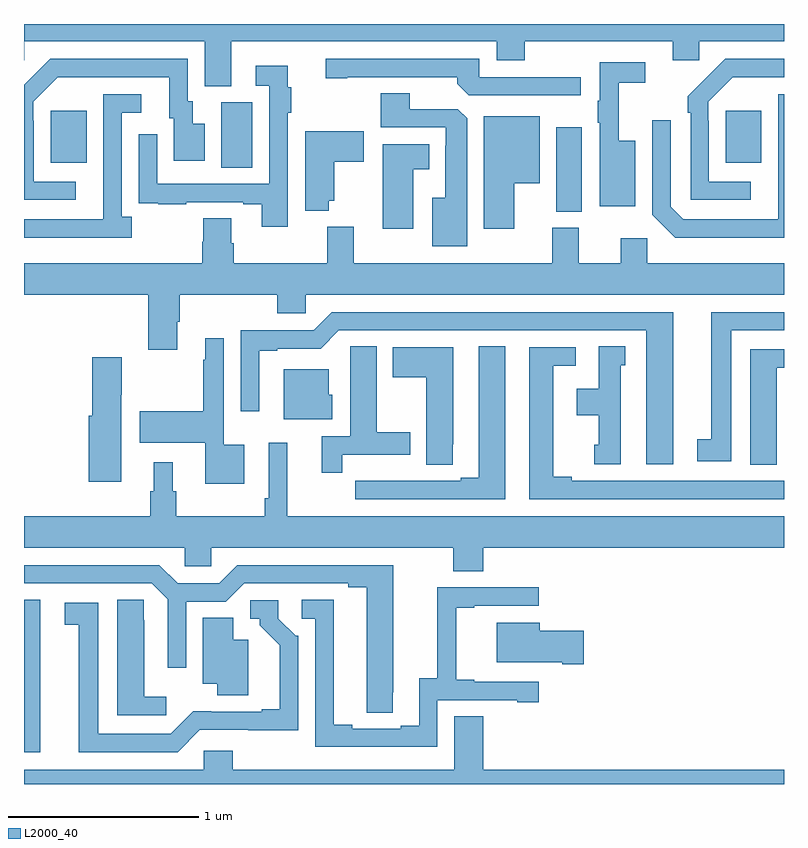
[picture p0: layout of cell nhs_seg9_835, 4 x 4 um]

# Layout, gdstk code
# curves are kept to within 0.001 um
import gdstk
lib = gdstk.Library(unit=1e-6, precision=1e-09)
def R(c, l, rs):  # rectangles x0, y0, x1, y1
    for r in rs: c.add(gdstk.rectangle(r[:2], r[2:], *l))
def P(c, l, *ps):  # polygons
    for p in ps: c.add(gdstk.Polygon(p, *l))
L2000_40 = (2000, 40)

nhs_seg9_835 = lib.new_cell('nhs_seg9_835')
R(nhs_seg9_835, L2000_40, [(155,1204.668,155.086,1205.47), (157.802,1207.513,157.936,1207.957), (156.038,1207.744,156.202,1208.088), (155.141,1207.769,155.329,1208.044), (158.693,1207.769,158.881,1208.044)])
P(nhs_seg9_835, L2000_40, [(156.091,1208.408),(157.487,1208.408),(157.487,1208.309),(157.635,1208.309),(157.635,1208.408),(158.414,1208.408),(158.414,1208.31),(158.553,1208.31),(158.553,1208.408),(159,1208.408),(159,1208.5),(155,1208.5),(155,1208.31),(155.001,1208.31),(155.001,1208.408),(155.951,1208.408),(155.951,1208.173),(156.091,1208.173)],
  [(157.93,1208.22),(157.395,1208.22),(157.395,1208.316),(156.588,1208.316),(156.588,1208.215),(156.7,1208.215),(156.7,1208.22),(157.28,1208.22),(157.28,1208.186),(157.341,1208.124),(157.93,1208.124)],
  [(158.824,1207.671),(158.604,1207.671),(158.604,1207.991),(158.601,1207.991),(158.601,1208.091),(158.73,1208.22),(159,1208.22),(159,1208.316),(158.69,1208.316),(158.493,1208.121),(158.493,1208.033),(158.508,1208.033),(158.508,1207.575),(158.824,1207.575)],
  [(155.272,1207.671),(155.052,1207.671),(155.052,1207.991),(155.049,1207.991),(155.049,1208.091),(155.178,1208.22),(155.765,1208.22),(155.765,1208.004),(155.789,1208.004),(155.789,1207.779),(155.95,1207.779),(155.95,1207.975),(155.887,1207.975),(155.887,1208.094),(155.862,1208.094),(155.862,1208.316),(155.138,1208.316),(155,1208.18),(155,1207.575),(155.272,1207.575)],
  [(158.218,1207.885),(158.129,1207.885),(158.129,1208.19),(158.269,1208.19),(158.269,1208.298),(158.031,1208.298),(158.031,1208.095),(158.019,1208.095),(158.019,1207.981),(158.03,1207.981),(158.03,1207.541),(158.218,1207.541)],
  [(156.387,1208.032),(156.407,1208.032),(156.407,1208.168),(156.389,1208.168),(156.389,1208.281),(156.219,1208.281),(156.219,1208.175),(156.291,1208.175),(156.291,1207.659),(155.7,1207.659),(155.7,1207.921),(155.604,1207.921),(155.604,1207.666),(155.605,1207.666),(155.605,1207.557),(155.707,1207.557),(155.707,1207.551),(155.855,1207.551),(155.855,1207.563),(156.155,1207.563),(156.155,1207.551),(156.251,1207.551),(156.251,1207.434),(156.387,1207.434)],
  [(157.333,1208.003),(157.284,1208.052),(157.03,1208.052),(157.03,1208.135),(156.878,1208.135),(156.878,1207.956),(157.221,1207.956),(157.221,1207.859),(157.217,1207.859),(157.217,1207.585),(157.148,1207.585),(157.148,1207.331),(157.333,1207.331)],
  [(155.566,1207.486),(155.514,1207.486),(155.514,1208.034),(155.617,1208.034),(155.617,1208.13),(155.418,1208.13),(155.418,1207.673),(155.417,1207.673),(155.417,1207.473),(155,1207.473),(155,1207.376),(155.566,1207.376)],
  [(159,1208.13),(158.97,1208.13),(158.97,1207.673),(158.969,1207.673),(158.969,1207.473),(158.469,1207.473),(158.403,1207.539),(158.403,1207.993),(158.307,1207.993),(158.307,1207.497),(158.428,1207.376),(159,1207.376)],
  [(157.579,1207.661),(157.714,1207.661),(157.714,1208.014),(157.421,1208.014),(157.421,1207.422),(157.579,1207.422)],
  [(156.604,1207.571),(156.634,1207.571),(156.634,1207.774),(156.787,1207.774),(156.787,1207.936),(156.479,1207.936),(156.479,1207.517),(156.604,1207.517)],
  [(157.048,1207.736),(157.132,1207.736),(157.132,1207.867),(156.887,1207.867),(156.887,1207.422),(157.048,1207.422)],
  [(155.806,1206.934),(155.819,1206.934),(155.819,1207.076),(156.332,1207.076),(156.332,1206.978),(156.483,1206.978),(156.483,1207.076),(159,1207.076),(159,1207.24),(158.28,1207.24),(158.28,1207.372),(158.141,1207.372),(158.141,1207.24),(157.921,1207.24),(157.921,1207.428),(157.781,1207.428),(157.781,1207.24),(156.736,1207.24),(156.736,1207.432),(156.596,1207.432),(156.596,1207.24),(156.104,1207.24),(156.104,1207.346),(156.091,1207.346),(156.091,1207.478),(155.944,1207.478),(155.944,1207.353),(155.939,1207.353),(155.939,1207.24),(155,1207.24),(155,1207.076),(155.654,1207.076),(155.654,1206.786),(155.806,1206.786)],
  [(158.416,1206.984),(156.621,1206.984),(156.525,1206.888),(156.141,1206.888),(156.141,1206.462),(156.238,1206.462),(156.238,1206.78),(156.334,1206.78),(156.334,1206.792),(156.561,1206.792),(156.657,1206.888),(158.276,1206.888),(158.276,1206.183),(158.416,1206.183)],
  [(158.722,1206.888),(159,1206.888),(159,1206.984),(158.618,1206.984),(158.618,1206.314),(158.544,1206.314),(158.544,1206.198),(158.722,1206.198)],
  [(156.16,1206.286),(156.051,1206.286),(156.051,1206.847),(155.954,1206.847),(155.954,1206.734),(155.943,1206.734),(155.943,1206.462),(155.61,1206.462),(155.61,1206.296),(155.954,1206.296),(155.954,1206.08),(156.16,1206.08)],
  [(156.674,1206.234),(157.033,1206.234),(157.033,1206.351),(156.856,1206.351),(156.856,1206.803),(156.717,1206.803),(156.717,1206.692),(156.716,1206.692),(156.716,1206.33),(156.566,1206.33),(156.566,1206.138),(156.674,1206.138)],
  [(157.534,1206.803),(157.394,1206.803),(157.394,1206.111),(157.298,1206.111),(157.298,1206.096),(157.022,1206.096),(157.022,1206.097),(156.856,1206.097),(156.856,1206.096),(156.744,1206.096),(156.744,1206),(157.534,1206)],
  [(158.14,1206.705),(158.164,1206.705),(158.164,1206.803),(158.024,1206.803),(158.024,1206.58),(157.91,1206.58),(157.91,1206.44),(158.024,1206.44),(158.024,1206.285),(158,1206.285),(158,1206.183),(158.14,1206.183)],
  [(157.257,1206.289),(157.258,1206.289),(157.258,1206.799),(156.941,1206.799),(156.941,1206.64),(157.118,1206.64),(157.118,1206.181),(157.257,1206.181)],
  [(159,1206.096),(157.882,1206.096),(157.882,1206.116),(157.786,1206.116),(157.786,1206.702),(157.903,1206.702),(157.903,1206.798),(157.658,1206.798),(157.658,1206),(159,1206)],
  [(158.961,1206.289),(158.962,1206.289),(158.962,1206.692),(159,1206.692),(159,1206.789),(158.822,1206.789),(158.822,1206.181),(158.961,1206.181)],
  [(155.512,1206.55),(155.514,1206.55),(155.514,1206.745),(155.36,1206.745),(155.36,1206.438),(155.342,1206.438),(155.342,1206.09),(155.512,1206.09)],
  [(156.622,1206.549),(156.604,1206.549),(156.604,1206.682),(156.368,1206.682),(156.368,1206.419),(156.622,1206.419)],
  [(157.418,1205.744),(159,1205.744),(159,1205.908),(156.386,1205.908),(156.386,1206.295),(156.288,1206.295),(156.288,1206.004),(156.268,1206.004),(156.268,1205.908),(155.801,1205.908),(155.801,1206.042),(155.782,1206.042),(155.782,1206.193),(155.684,1206.193),(155.684,1206.042),(155.665,1206.042),(155.665,1205.908),(155,1205.908),(155,1205.744),(155.847,1205.744),(155.847,1205.646),(155.985,1205.646),(155.985,1205.744),(157.258,1205.744),(157.258,1205.62),(157.418,1205.62)],
  [(156.942,1204.984),(156.943,1205.652),(156.123,1205.652),(156.027,1205.556),(155.809,1205.556),(155.713,1205.652),(155,1205.652),(155,1205.556),(155.673,1205.556),(155.757,1205.472),(155.757,1205.112),(155.853,1205.112),(155.853,1205.46),(156.063,1205.46),(156.159,1205.556),(156.707,1205.556),(156.707,1205.536),(156.803,1205.536),(156.803,1204.876),(156.942,1204.876)],
  [(157.176,1204.941),(157.595,1204.941),(157.595,1204.929),(157.708,1204.929),(157.708,1205.037),(157.369,1205.037),(157.369,1205.05),(157.274,1205.05),(157.274,1205.427),(157.369,1205.427),(157.369,1205.439),(157.708,1205.439),(157.708,1205.535),(157.174,1205.535),(157.174,1205.057),(157.079,1205.057),(157.079,1204.806),(156.983,1204.806),(156.983,1204.791),(156.727,1204.791),(156.727,1204.811),(156.631,1204.811),(156.631,1205.471),(156.462,1205.471),(156.462,1205.37),(156.534,1205.37),(156.534,1204.695),(157.176,1204.695)],
  [(155.749,1204.96),(155.632,1204.96),(155.632,1205.363),(155.631,1205.363),(155.631,1205.471),(155.492,1205.471),(155.492,1204.863),(155.749,1204.863)],
  [(155.925,1204.785),(156.444,1204.784),(156.444,1205.28),(156.429,1205.28),(156.339,1205.37),(156.339,1205.466),(156.192,1205.466),(156.192,1205.37),(156.242,1205.37),(156.242,1205.335),(156.347,1205.23),(156.347,1204.894),(156.251,1204.894),(156.251,1204.881),(155.89,1204.882),(155.772,1204.764),(155.392,1204.764),(155.392,1205.454),(155.214,1205.454),(155.214,1205.338),(155.288,1205.338),(155.288,1204.668),(155.808,1204.668)],
  [(156.181,1205.26),(156.1,1205.26),(156.1,1205.375),(155.942,1205.375),(155.942,1205.027),(156.017,1205.027),(156.017,1204.966),(156.181,1204.966)],
  [(157.945,1205.307),(157.714,1205.307),(157.714,1205.35),(157.487,1205.35),(157.487,1205.141),(157.832,1205.141),(157.832,1205.129),(157.945,1205.129)],
  [(159,1204.576),(157.418,1204.576),(157.418,1204.856),(157.265,1204.856),(157.265,1204.576),(156.098,1204.576),(156.098,1204.674),(155.946,1204.674),(155.946,1204.576),(155,1204.576),(155,1204.5),(159,1204.5)])

lib.write_gds('nhs_seg9_835.gds')
